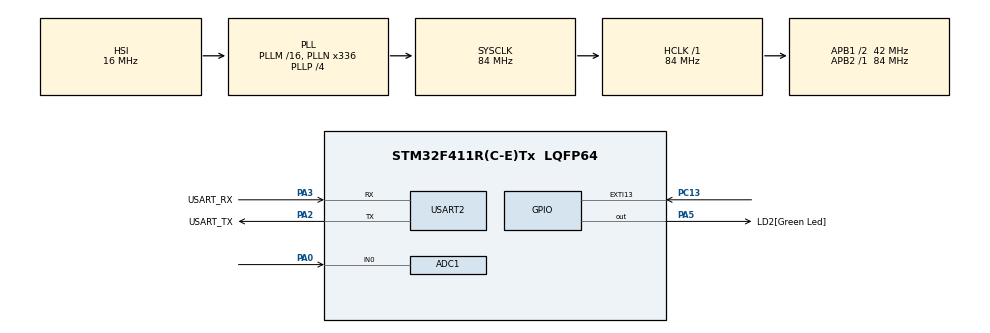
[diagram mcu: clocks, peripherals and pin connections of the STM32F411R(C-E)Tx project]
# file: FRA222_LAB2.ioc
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ADC1.Channel-1\#ChannelRegularConversion=ADC_CHANNEL_0
ADC1.Channel-2\#ChannelRegularConversion=ADC_CHANNEL_TEMPSENSOR
ADC1.ContinuousConvMode=ENABLE
ADC1.DMAContinuousRequests=ENABLE
ADC1.NbrOfConversion=2
ADC1.NbrOfConversionFlag=1
ADC1.Rank-1\#ChannelRegularConversion=1
ADC1.Rank-2\#ChannelRegularConversion=2
ADC1.SamplingTime-1\#ChannelRegularConversion=ADC_SAMPLETIME_56CYCLES
ADC1.SamplingTime-2\#ChannelRegularConversion=ADC_SAMPLETIME_56CYCLES
ADC1.ScanConvMode=ENABLE
ADC1.master=1
Dma.ADC1.0.Direction=DMA_PERIPH_TO_MEMORY
Dma.ADC1.0.FIFOMode=DMA_FIFOMODE_DISABLE
Dma.ADC1.0.Instance=DMA2_Stream0
Dma.ADC1.0.MemDataAlignment=DMA_MDATAALIGN_HALFWORD
Dma.ADC1.0.MemInc=DMA_MINC_ENABLE
Dma.ADC1.0.Mode=DMA_CIRCULAR
Dma.ADC1.0.PeriphDataAlignment=DMA_PDATAALIGN_HALFWORD
Dma.ADC1.0.PeriphInc=DMA_PINC_DISABLE
Dma.ADC1.0.Priority=DMA_PRIORITY_LOW
Dma.Request0=ADC1
Mcu.Family=STM32F4
Mcu.Name=STM32F411R(C-E)Tx
Mcu.Package=LQFP64
NVIC.ADC_IRQn=true\:0\:0\:false\:false\:true\:true\:true\:true
NVIC.DMA2_Stream0_IRQn=true\:0\:0\:false\:false\:true\:false\:true\:true
NVIC.EXTI15_10_IRQn=true\:0\:0\:false\:false\:true\:true\:true\:true
NVIC.PriorityGroup=NVIC_PRIORITYGROUP_0
PA0-WKUP.Signal=ADCx_IN0
PA13.GPIO_Label=TMS
PA13.Mode=Serial_Wire
PA13.Signal=SYS_JTMS-SWDIO
PA14.GPIO_Label=TCK
PA14.Mode=Serial_Wire
PA14.Signal=SYS_JTCK-SWCLK
PA2.GPIO_Label=USART_TX
PA2.Mode=Asynchronous
PA2.Signal=USART2_TX
PA3.GPIO_Label=USART_RX
PA3.Mode=Asynchronous
PA3.Signal=USART2_RX
PA5.GPIO_Label=LD2[Green Led]
PA5.Signal=GPIO_Output
PB3.GPIO_Label=SWO
PB3.Signal=SYS_JTDO-SWO
PC13-ANTI_TAMP.GPIO_ModeDefaultEXTI=GPIO_MODE_IT_FALLING
PC13-ANTI_TAMP.Signal=GPXTI13
PC14-OSC32_IN.Mode=LSE-External-Oscillator
PC14-OSC32_IN.Signal=RCC_OSC32_IN
PC15-OSC32_OUT.Mode=LSE-External-Oscillator
PC15-OSC32_OUT.Signal=RCC_OSC32_OUT
PH0\ -\ OSC_IN.Mode=HSE-External-Clock-Source
PH0\ -\ OSC_IN.Signal=RCC_OSC_IN
PH1\ -\ OSC_OUT.Mode=HSE-External-Clock-Source
PH1\ -\ OSC_OUT.Signal=RCC_OSC_OUT
ProjectManager.HeapSize=0x200
ProjectManager.StackSize=0x400
ProjectManager.TargetToolchain=STM32CubeIDE
RCC.48MHZClocksFreq_Value=84000000
RCC.AHBFreq_Value=84000000
RCC.APB1CLKDivider=RCC_HCLK_DIV2
RCC.APB1Freq_Value=42000000
RCC.APB1TimFreq_Value=84000000
RCC.APB2Freq_Value=84000000
RCC.APB2TimFreq_Value=84000000
RCC.CortexFreq_Value=84000000
RCC.FLatency-AdvancedSettings=FLASH_LATENCY_2
RCC.HCLKFreq_Value=84000000
RCC.HSE_VALUE=8000000
RCC.HSI_VALUE=16000000
RCC.PLLN=336
RCC.PLLP=RCC_PLLP_DIV4
RCC.SYSCLKFreq_VALUE=84000000
RCC.SYSCLKSource=RCC_SYSCLKSOURCE_PLLCLK
RCC.VCOOutputFreq_Value=336000000
SH.ADCx_IN0.0=ADC1_IN0,IN0
USART2.VirtualMode=VM_ASYNC
VP_ADC1_TempSens_Input.Mode=IN-TempSens
board=NUCLEO-F411RE

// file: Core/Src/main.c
/* USER CODE BEGIN Header */
/**
 ******************************************************************************
 * @file           : main.c
 * @brief          : Main program body
 ******************************************************************************
 * @attention
 *
 * Copyright (c) 2023 STMicroelectronics.
 * All rights reserved.
 *
 * This software is licensed under terms that can be found in the LICENSE file
 * in the root directory of this software component.
 * If no LICENSE file comes with this software, it is provided AS-IS.
 *
 ******************************************************************************
 */
/* USER CODE END Header */
#include "main.h"

ADC_HandleTypeDef hadc1;
DMA_HandleTypeDef hdma_adc1;

UART_HandleTypeDef huart2;

/* USER CODE BEGIN PV */

uint16_t adcRawData[20];
float finalVoltData = 0;
float finalTempData = 0;
float finalVolt = 0;
float finalTemp = 0;

/* USER CODE END PV */

void SystemClock_Config(void);
static void MX_GPIO_Init(void);
static void MX_DMA_Init(void);
static void MX_USART2_UART_Init(void);
static void MX_ADC1_Init(void);
/* USER CODE BEGIN PFP */
void HandleADC();
/* USER CODE END PFP */

int main(void) {

	/* MCU Configuration--------------------------------------------------------*/

	/* Reset of all peripherals, Initializes the Flash interface and the Systick. */
	HAL_Init();

	/* Configure the system clock */
	SystemClock_Config();

	/* Initialize all configured peripherals */
	MX_GPIO_Init();
	MX_DMA_Init();
	MX_USART2_UART_Init();
	MX_ADC1_Init();
	/* USER CODE BEGIN 2 */
	HAL_ADC_Start_DMA(&hadc1, adcRawData, 20);
	/* USER CODE END 2 */

	/* Infinite loop */
	while (1) {

		/* USER CODE BEGIN 3 */
		static uint32_t timestamp = 0;
		if (HAL_GetTick() >= timestamp) {
			timestamp = HAL_GetTick() + 1000;
			// function
			HandleADC();

		}
	}
	/* USER CODE END 3 */
}

void SystemClock_Config(void) {
	RCC_OscInitTypeDef RCC_OscInitStruct = { 0 };
	RCC_ClkInitTypeDef RCC_ClkInitStruct = { 0 };

	/** Configure the main internal regulator output voltage
	 */
	__HAL_RCC_PWR_CLK_ENABLE();
	__HAL_PWR_VOLTAGESCALING_CONFIG(PWR_REGULATOR_VOLTAGE_SCALE1);

	/** Initializes the RCC Oscillators according to the specified parameters
	 * in the RCC_OscInitTypeDef structure.
	 */
	RCC_OscInitStruct.OscillatorType = RCC_OSCILLATORTYPE_HSI;
	RCC_OscInitStruct.HSIState = RCC_HSI_ON;
	RCC_OscInitStruct.HSICalibrationValue = RCC_HSICALIBRATION_DEFAULT;
	RCC_OscInitStruct.PLL.PLLState = RCC_PLL_ON;
	RCC_OscInitStruct.PLL.PLLSource = RCC_PLLSOURCE_HSI;
	RCC_OscInitStruct.PLL.PLLM = 16;
	RCC_OscInitStruct.PLL.PLLN = 336;
	RCC_OscInitStruct.PLL.PLLP = RCC_PLLP_DIV4;
	RCC_OscInitStruct.PLL.PLLQ = 4;
	if (HAL_RCC_OscConfig(&RCC_OscInitStruct) != HAL_OK) {
		Error_Handler();
	}

	/** Initializes the CPU, AHB and APB buses clocks
	 */
	RCC_ClkInitStruct.ClockType = RCC_CLOCKTYPE_HCLK | RCC_CLOCKTYPE_SYSCLK
			| RCC_CLOCKTYPE_PCLK1 | RCC_CLOCKTYPE_PCLK2;
	RCC_ClkInitStruct.SYSCLKSource = RCC_SYSCLKSOURCE_PLLCLK;
	RCC_ClkInitStruct.AHBCLKDivider = RCC_SYSCLK_DIV1;
	RCC_ClkInitStruct.APB1CLKDivider = RCC_HCLK_DIV2;
	RCC_ClkInitStruct.APB2CLKDivider = RCC_HCLK_DIV1;

	if (HAL_RCC_ClockConfig(&RCC_ClkInitStruct, FLASH_LATENCY_2) != HAL_OK) {
		Error_Handler();
	}
}

static void MX_ADC1_Init(void) {

	ADC_ChannelConfTypeDef sConfig = { 0 };

	/** Configure the global features of the ADC (Clock, Resolution, Data Alignment and number of conversion)
	 */
	hadc1.Instance = ADC1;
	hadc1.Init.ClockPrescaler = ADC_CLOCK_SYNC_PCLK_DIV4;
	hadc1.Init.Resolution = ADC_RESOLUTION_12B;
	hadc1.Init.ScanConvMode = ENABLE;
	hadc1.Init.ContinuousConvMode = ENABLE;
	hadc1.Init.DiscontinuousConvMode = DISABLE;
	hadc1.Init.ExternalTrigConvEdge = ADC_EXTERNALTRIGCONVEDGE_NONE;
	hadc1.Init.ExternalTrigConv = ADC_SOFTWARE_START;
	hadc1.Init.DataAlign = ADC_DATAALIGN_RIGHT;
	hadc1.Init.NbrOfConversion = 2;
	hadc1.Init.DMAContinuousRequests = ENABLE;
	hadc1.Init.EOCSelection = ADC_EOC_SINGLE_CONV;
	if (HAL_ADC_Init(&hadc1) != HAL_OK) {
		Error_Handler();
	}

	/** Configure for the selected ADC regular channel its corresponding rank in the sequencer and its sample time.
	 */
	sConfig.Channel = ADC_CHANNEL_0;
	sConfig.Rank = 1;
	sConfig.SamplingTime = ADC_SAMPLETIME_56CYCLES;
	if (HAL_ADC_ConfigChannel(&hadc1, &sConfig) != HAL_OK) {
		Error_Handler();
	}

	/** Configure for the selected ADC regular channel its corresponding rank in the sequencer and its sample time.
	 */
	sConfig.Channel = ADC_CHANNEL_TEMPSENSOR;
	sConfig.Rank = 2;
	if (HAL_ADC_ConfigChannel(&hadc1, &sConfig) != HAL_OK) {
		Error_Handler();
	}

}

static void MX_USART2_UART_Init(void) {

	huart2.Instance = USART2;
	huart2.Init.BaudRate = 115200;
	huart2.Init.WordLength = UART_WORDLENGTH_8B;
	huart2.Init.StopBits = UART_STOPBITS_1;
	huart2.Init.Parity = UART_PARITY_NONE;
	huart2.Init.Mode = UART_MODE_TX_RX;
	huart2.Init.HwFlowCtl = UART_HWCONTROL_NONE;
	huart2.Init.OverSampling = UART_OVERSAMPLING_16;
	if (HAL_UART_Init(&huart2) != HAL_OK) {
		Error_Handler();
	}

}

static void MX_DMA_Init(void) {

	/* DMA controller clock enable */
	__HAL_RCC_DMA2_CLK_ENABLE();

	/* DMA interrupt init */
	/* DMA2_Stream0_IRQn interrupt configuration */
	HAL_NVIC_SetPriority(DMA2_Stream0_IRQn, 0, 0);
	HAL_NVIC_EnableIRQ(DMA2_Stream0_IRQn);

}

static void MX_GPIO_Init(void) {
	GPIO_InitTypeDef GPIO_InitStruct = { 0 };

	/* GPIO Ports Clock Enable */
	__HAL_RCC_GPIOC_CLK_ENABLE();
	__HAL_RCC_GPIOH_CLK_ENABLE();
	__HAL_RCC_GPIOA_CLK_ENABLE();
	__HAL_RCC_GPIOB_CLK_ENABLE();

	/*Configure GPIO pin Output Level */
	HAL_GPIO_WritePin(LD2_GPIO_Port, LD2_Pin, GPIO_PIN_RESET);

	/*Configure GPIO pin : PC13 */
	GPIO_InitStruct.Pin = GPIO_PIN_13;
	GPIO_InitStruct.Mode = GPIO_MODE_IT_FALLING;
	GPIO_InitStruct.Pull = GPIO_NOPULL;
	HAL_GPIO_Init(GPIOC, &GPIO_InitStruct);

	/*Configure GPIO pin : LD2_Pin */
	GPIO_InitStruct.Pin = LD2_Pin;
	GPIO_InitStruct.Mode = GPIO_MODE_OUTPUT_PP;
	GPIO_InitStruct.Pull = GPIO_NOPULL;
	GPIO_InitStruct.Speed = GPIO_SPEED_FREQ_LOW;
	HAL_GPIO_Init(LD2_GPIO_Port, &GPIO_InitStruct);

	/* EXTI interrupt init*/
	HAL_NVIC_SetPriority(EXTI15_10_IRQn, 0, 0);
	HAL_NVIC_EnableIRQ(EXTI15_10_IRQn);

}

/* USER CODE BEGIN 4 */
void HandleADC()
{
	uint16_t preVoltData = 0;
	uint16_t preTempData = 0;
	register int i;
	for ( i = 0; i < 10; i++) {
		preVoltData += adcRawData[i*2];
		preTempData += adcRawData[(i*2) + 1];
	}
	finalVoltData = preVoltData/10;
	finalTempData = preTempData/10;

	finalVolt = ((finalVoltData * 3300 )/ (4095.0))*2; // mv
	finalTemp = ((((finalTempData * 3.3 )/ (4095.0)) - 0.76 ) / (0.0025)) + 25 + 273;

}

//void HAL_GPIO_EXTI_Callback(uint16_t GPIO_Pin) {
	//if (GPIO_Pin == GPIO_PIN_13) {

	//}
//}
void HAL_ADC_ConvCpltCallback(ADC_HandleTypeDef *hadc) {

}
/* USER CODE END 4 */

void Error_Handler(void) {
	__disable_irq();
	while (1) {
	}
}
